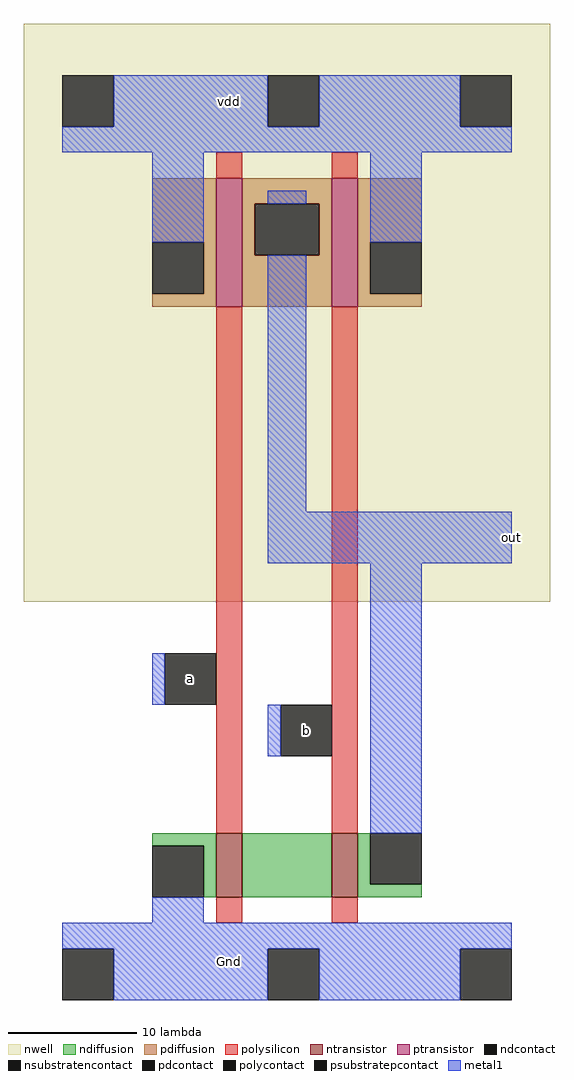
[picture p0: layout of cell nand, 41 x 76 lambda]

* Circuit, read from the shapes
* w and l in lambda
.subckt nand Gnd a b out vdd
M1 n1 a Gnd Gnd nfet w=5 l=2
M2 out b n1 Gnd nfet w=5 l=2
M3 out a vdd vdd pfet w=10 l=2
M4 vdd b out vdd pfet w=10 l=2
.ends

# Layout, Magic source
magic
tech min2
<< nwell >>
rect -14 24 27 69
<< ntransistor >>
rect 1 1 3 6
rect 10 1 12 6
<< ptransistor >>
rect 1 47 3 57
rect 10 47 12 57
<< ndiffusion >>
rect -4 5 1 6
rect 0 1 1 5
rect 3 1 10 6
rect 12 2 13 6
rect 12 1 17 2
<< pdiffusion >>
rect -4 52 1 57
rect 0 48 1 52
rect -4 47 1 48
rect 3 55 10 57
rect 3 51 4 55
rect 9 51 10 55
rect 3 47 10 51
rect 12 52 17 57
rect 12 48 13 52
rect 12 47 17 48
<< ndcontact >>
rect -4 1 0 5
rect 13 2 17 6
<< pdcontact >>
rect -4 48 0 52
rect 4 51 9 55
rect 13 48 17 52
<< psubstratepcontact >>
rect -11 -7 -7 -3
rect 5 -7 9 -3
rect 20 -7 24 -3
<< nsubstratencontact >>
rect -11 61 -7 65
rect 5 61 9 65
rect 20 61 24 65
<< polysilicon >>
rect 1 57 3 59
rect 10 57 12 59
rect 1 6 3 47
rect 10 6 12 47
rect 1 -1 3 1
rect 10 -1 12 1
<< polycontact >>
rect -3 16 1 20
rect 6 12 10 16
<< metal1 >>
rect -7 61 5 65
rect 9 61 20 65
rect -11 59 24 61
rect -4 52 0 59
rect 5 55 8 56
rect 13 52 17 59
rect 5 31 8 51
rect 5 27 24 31
rect -4 16 -3 20
rect 5 12 6 16
rect 13 6 17 27
rect -4 -1 0 1
rect -11 -3 24 -1
rect -7 -7 5 -3
rect 9 -7 20 -3
<< labels >>
rlabel polycontact 8 14 8 14 1 b
rlabel polycontact -1 18 -1 18 1 a
rlabel metal1 2 -4 2 -4 1 Gnd
rlabel metal1 24 27 24 31 7 out
rlabel metal1 2 63 2 63 5 vdd
<< end >>
